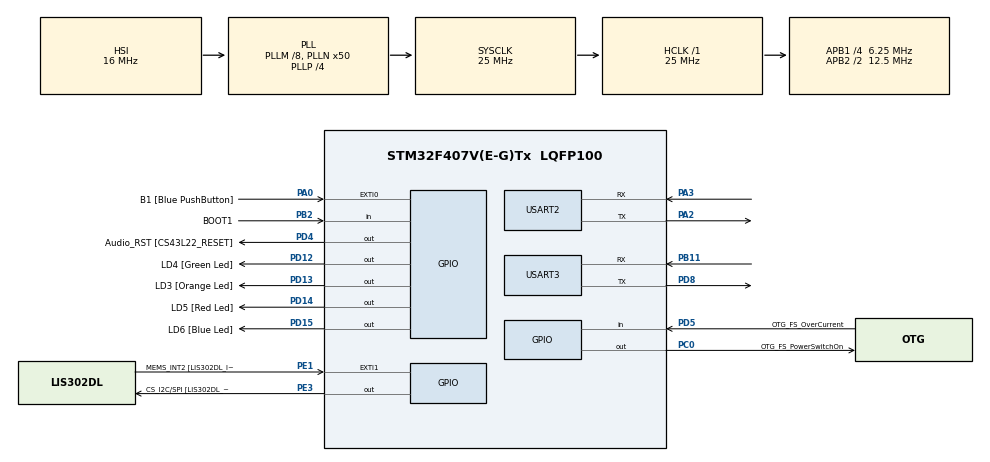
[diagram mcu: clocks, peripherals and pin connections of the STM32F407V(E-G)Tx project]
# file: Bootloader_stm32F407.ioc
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Mcu.Family=STM32F4
Mcu.Name=STM32F407V(E-G)Tx
Mcu.Package=LQFP100
NVIC.PriorityGroup=NVIC_PRIORITYGROUP_0
PA0-WKUP.GPIO_Label=B1 [Blue PushButton]
PA0-WKUP.Signal=GPXTI0
PA10.GPIO_Label=OTG_FS_ID
PA10.GPIO_Mode=GPIO_MODE_AF_PP
PA10.GPIO_PuPd=GPIO_NOPULL
PA10.GPIO_Speed=GPIO_SPEED_FREQ_LOW
PA10.Signal=USB_OTG_FS_ID
PA11.GPIO_Label=OTG_FS_DM
PA11.GPIO_Mode=GPIO_MODE_AF_PP
PA11.GPIO_PuPd=GPIO_NOPULL
PA11.GPIO_Speed=GPIO_SPEED_FREQ_LOW
PA11.Signal=USB_OTG_FS_DM
PA12.GPIO_Label=OTG_FS_DP
PA12.GPIO_Mode=GPIO_MODE_AF_PP
PA12.GPIO_PuPd=GPIO_NOPULL
PA12.GPIO_Speed=GPIO_SPEED_FREQ_LOW
PA12.Signal=USB_OTG_FS_DP
PA13.GPIO_Label=SWDIO
PA13.Signal=SYS_JTMS-SWDIO
PA14.GPIO_Label=SWCLK
PA14.Signal=SYS_JTCK-SWCLK
PA2.Mode=Asynchronous
PA2.Signal=USART2_TX
PA3.Mode=Asynchronous
PA3.Signal=USART2_RX
PA4.GPIO_Label=I2S3_WS [CS43L22_LRCK]
PA4.GPIO_Mode=GPIO_MODE_AF_PP
PA4.GPIO_PuPd=GPIO_NOPULL
PA4.GPIO_Speed=GPIO_SPEED_FREQ_LOW
PA4.Signal=I2S3_WS
PA5.GPIO_Label=SPI1_SCK [LIS302DL_SCL/SPC]
PA5.GPIO_Mode=GPIO_MODE_AF_PP
PA5.GPIO_PuPd=GPIO_NOPULL
PA5.GPIO_Speed=GPIO_SPEED_FREQ_LOW
PA5.Signal=SPI1_SCK
PA6.GPIO_Label=SPI1_MISO [LIS302DL_SDO]
PA6.GPIO_Mode=GPIO_MODE_AF_PP
PA6.GPIO_PuPd=GPIO_NOPULL
PA6.GPIO_Speed=GPIO_SPEED_FREQ_LOW
PA6.Signal=SPI1_MISO
PA7.GPIO_Label=SPI1_MOSI [LIS302DL_SDA/SDI/SDO]
PA7.GPIO_Mode=GPIO_MODE_AF_PP
PA7.GPIO_PuPd=GPIO_NOPULL
PA7.GPIO_Speed=GPIO_SPEED_FREQ_LOW
PA7.Signal=SPI1_MOSI
PA9.GPIO_Label=VBUS_FS
PA9.GPIO_Mode=GPIO_MODE_INPUT
PA9.GPIO_PuPd=GPIO_NOPULL
PA9.Signal=USB_OTG_FS_VBUS
PB10.GPIO_Label=CLK_IN [MP45DT02_CLK]
PB10.GPIO_Mode=GPIO_MODE_AF_PP
PB10.GPIO_PuPd=GPIO_NOPULL
PB10.GPIO_Speed=GPIO_SPEED_FREQ_LOW
PB10.Signal=I2S2_CK
PB11.Mode=Asynchronous
PB11.Signal=USART3_RX
PB2.GPIO_Label=BOOT1
PB2.GPIO_Mode=GPIO_MODE_INPUT
PB2.GPIO_PuPd=GPIO_NOPULL
PB2.Signal=GPIO_Input
PB3.GPIO_Label=SWO
PB3.Signal=SYS_JTDO-SWO
PB6.GPIO_Label=Audio_SCL [CS43L22_SCL]
PB6.GPIO_Mode=GPIO_MODE_AF_OD
PB6.GPIO_PuPd=GPIO_NOPULL
PB6.GPIO_Speed=GPIO_SPEED_FREQ_LOW
PB6.Signal=I2C1_SCL
PB9.GPIO_Label=Audio_SDA [CS43L22_SDA]
PB9.GPIO_Mode=GPIO_MODE_AF_OD
PB9.GPIO_PuPd=GPIO_NOPULL
PB9.GPIO_Speed=GPIO_SPEED_FREQ_LOW
PB9.Signal=I2C1_SDA
PC0.GPIO_Label=OTG_FS_PowerSwitchOn
PC0.GPIO_PuPd=GPIO_NOPULL
PC0.GPIO_Speed=GPIO_SPEED_FREQ_LOW
PC0.PinState=GPIO_PIN_SET
PC0.Signal=GPIO_Output
PC10.GPIO_Label=I2S3_SCK [CS43L22_SCLK]
PC10.GPIO_Mode=GPIO_MODE_AF_PP
PC10.GPIO_PuPd=GPIO_NOPULL
PC10.GPIO_Speed=GPIO_SPEED_FREQ_LOW
PC10.Signal=I2S3_CK
PC12.GPIO_Label=I2S3_SD [CS43L22_SDIN]
PC12.GPIO_Mode=GPIO_MODE_AF_PP
PC12.GPIO_PuPd=GPIO_NOPULL
PC12.GPIO_Speed=GPIO_SPEED_FREQ_LOW
PC12.Signal=I2S3_SD
PC14-OSC32_IN.GPIO_Label=PC14-OSC32_IN
PC14-OSC32_IN.Signal=RCC_OSC32_IN
PC15-OSC32_OUT.GPIO_Label=PC15-OSC32_OUT
PC15-OSC32_OUT.Signal=RCC_OSC32_OUT
PC3.GPIO_Label=PDM_OUT [MP45DT02_DOUT]
PC3.GPIO_Mode=GPIO_MODE_AF_PP
PC3.GPIO_PuPd=GPIO_NOPULL
PC3.GPIO_Speed=GPIO_SPEED_FREQ_LOW
PC3.Signal=I2S2_SD
PC7.GPIO_Label=I2S3_MCK [CS43L22_MCLK]
PC7.GPIO_Mode=GPIO_MODE_AF_PP
PC7.GPIO_PuPd=GPIO_NOPULL
PC7.GPIO_Speed=GPIO_SPEED_FREQ_LOW
PC7.Signal=I2S3_MCK
PD12.GPIO_Label=LD4 [Green Led]
PD12.GPIO_PuPd=GPIO_NOPULL
PD12.GPIO_Speed=GPIO_SPEED_FREQ_LOW
PD12.Signal=GPIO_Output
PD13.GPIO_Label=LD3 [Orange Led]
PD13.GPIO_PuPd=GPIO_NOPULL
PD13.GPIO_Speed=GPIO_SPEED_FREQ_LOW
PD13.Signal=GPIO_Output
PD14.GPIO_Label=LD5 [Red Led]
PD14.GPIO_PuPd=GPIO_NOPULL
PD14.GPIO_Speed=GPIO_SPEED_FREQ_LOW
PD14.Signal=GPIO_Output
PD15.GPIO_Label=LD6 [Blue Led]
PD15.GPIO_PuPd=GPIO_NOPULL
PD15.GPIO_Speed=GPIO_SPEED_FREQ_LOW
PD15.Signal=GPIO_Output
PD4.GPIO_Label=Audio_RST [CS43L22_RESET]
PD4.GPIO_PuPd=GPIO_NOPULL
PD4.GPIO_Speed=GPIO_SPEED_FREQ_LOW
PD4.Signal=GPIO_Output
PD5.GPIO_Label=OTG_FS_OverCurrent
PD5.GPIO_Mode=GPIO_MODE_INPUT
PD5.GPIO_PuPd=GPIO_NOPULL
PD5.Signal=GPIO_Input
PD8.Mode=Asynchronous
PD8.Signal=USART3_TX
PE1.GPIO_Label=MEMS_INT2 [LIS302DL_INT2]
PE1.GPIO_ModeDefaultEXTI=GPIO_MODE_EVT_RISING
PE1.GPIO_PuPd=GPIO_NOPULL
PE1.Signal=GPXTI1
PE3.GPIO_Label=CS_I2C/SPI [LIS302DL_CS_I2C/SPI]
PE3.GPIO_PuPd=GPIO_NOPULL
PE3.GPIO_Speed=GPIO_SPEED_FREQ_LOW
PE3.Signal=GPIO_Output
PH0-OSC_IN.GPIO_Label=PH0-OSC_IN
PH0-OSC_IN.Signal=RCC_OSC_IN
PH1-OSC_OUT.GPIO_Label=PH1-OSC_OUT
PH1-OSC_OUT.Signal=RCC_OSC_OUT
ProjectManager.HeapSize=0x200
ProjectManager.StackSize=0x400
ProjectManager.TargetToolchain=MDK-ARM V5.32
RCC.48MHZClocksFreq_Value=14285714.285714285
RCC.AHBFreq_Value=25000000
RCC.APB1CLKDivider=RCC_HCLK_DIV4
RCC.APB1Freq_Value=6250000
RCC.APB1TimFreq_Value=12500000
RCC.APB2CLKDivider=RCC_HCLK_DIV2
RCC.APB2Freq_Value=12500000
RCC.APB2TimFreq_Value=25000000
RCC.CortexFreq_Value=25000000
RCC.HCLKFreq_Value=25000000
RCC.HSE_VALUE=8000000
RCC.HSI_VALUE=16000000
RCC.LSE_VALUE=32768
RCC.PLLM=8
RCC.PLLN=50
RCC.PLLP=RCC_PLLP_DIV4
RCC.PLLQ=7
RCC.SYSCLKFreq_VALUE=25000000
RCC.SYSCLKSource=RCC_SYSCLKSOURCE_PLLCLK
RCC.VCOOutputFreq_Value=100000000
USART2.VirtualMode=VM_ASYNC
USART3.VirtualMode=VM_ASYNC
VP_CRC_VS_CRC.Mode=CRC_Activate
board=STM32F407G-DISC1

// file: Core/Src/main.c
/* USER CODE BEGIN Header */
/**
  ******************************************************************************
  * @file           : main.c
  * @brief          : Main program body
  ******************************************************************************
  * @attention
  *
  * Copyright (c) 2024 STMicroelectronics.
  * All rights reserved.
  *
  * This software is licensed under terms that can be found in the LICENSE file
  * in the root directory of this software component.
  * If no LICENSE file comes with this software, it is provided AS-IS.
  *
  ******************************************************************************
  */
/* USER CODE END Header */
#include "main.h"

/* USER CODE BEGIN Includes */
#include<stdio.h>
#include<stdarg.h>
#include<string.h>

/* USER CODE END Includes */

/* USER CODE BEGIN PM */
//enable this macro for debug messages over UART3
#define DEBUG_MSG_EN
#define DEBUG_UART &huart3  //Debug UART
#define VCOM_UART  &huart2  //Virtual COM UART

/* USER CODE END PM */

CRC_HandleTypeDef hcrc;

UART_HandleTypeDef huart2;
UART_HandleTypeDef huart3;

uint8_t supported_commands[] = {
                               BL_GET_VER ,
                               BL_GET_HELP,
                               BL_GET_CID,
                               BL_GET_RDP_STATUS,
                               BL_GO_TO_ADDR,
                               BL_FLASH_ERASE,
                               BL_MEM_WRITE,
                               BL_READ_SECTOR_P_STATUS};

void SystemClock_Config(void);
static void MX_GPIO_Init(void);
static void MX_USART2_UART_Init(void);
static void MX_USART3_UART_Init(void);
static void MX_CRC_Init(void);

/* USER CODE BEGIN PFP */
static void print_msg(char *format,...);

/* USER CODE END PFP */

/* USER CODE BEGIN 0 */
#define BL_RX_LEN  200
uint8_t bl_rx_buffer[BL_RX_LEN];

/* USER CODE END 0 */

int main(void)
{

  /* MCU Configuration--------------------------------------------------------*/

  /* Reset of all peripherals, Initializes the Flash interface and the Systick. */
  HAL_Init();

  /* Configure the system clock */
  SystemClock_Config();

  /* Initialize all configured peripherals */
  MX_GPIO_Init();
  MX_USART2_UART_Init();
  MX_USART3_UART_Init();
  MX_CRC_Init();

  /* USER CODE BEGIN 2 */

	/* If button is pressed -> go to bootloader, if not pressed -> go to user application */
  if (HAL_GPIO_ReadPin(B1_GPIO_Port,B1_Pin) == GPIO_PIN_RESET)
  {
	  print_msg("[Debug]: User Button is pressed -> Going into Bootloader....\n\r");

	  //continue in bootloader mode
	  bootloader_uart_read_data();
  }
  else
  {
	  print_msg("[Debug]: User Button is not pressed -> Entering User Application....\n\r");

		//Jump to User Application
		bootloader_jump_to_user_app();
  }

  /* USER CODE END 2 */

  /* Infinite loop */
  while (1)
  {

    /* USER CODE BEGIN 3 */

		uint32_t cur_tick = HAL_GetTick();
		print_msg("Current Tick Value = %d\r\n", cur_tick);
		while(HAL_GetTick()<= (cur_tick+500)); //delay using systick
  }
  /* USER CODE END 3 */
}

void SystemClock_Config(void)
{
  RCC_OscInitTypeDef RCC_OscInitStruct = {0};
  RCC_ClkInitTypeDef RCC_ClkInitStruct = {0};

  /** Configure the main internal regulator output voltage
  */
  __HAL_RCC_PWR_CLK_ENABLE();
  __HAL_PWR_VOLTAGESCALING_CONFIG(PWR_REGULATOR_VOLTAGE_SCALE1);

  /** Initializes the RCC Oscillators according to the specified parameters
  * in the RCC_OscInitTypeDef structure.
  */
  RCC_OscInitStruct.OscillatorType = RCC_OSCILLATORTYPE_HSI;
  RCC_OscInitStruct.HSIState = RCC_HSI_ON;
  RCC_OscInitStruct.HSICalibrationValue = RCC_HSICALIBRATION_DEFAULT;
  RCC_OscInitStruct.PLL.PLLState = RCC_PLL_ON;
  RCC_OscInitStruct.PLL.PLLSource = RCC_PLLSOURCE_HSI;
  RCC_OscInitStruct.PLL.PLLM = 8;
  RCC_OscInitStruct.PLL.PLLN = 50;
  RCC_OscInitStruct.PLL.PLLP = RCC_PLLP_DIV4;
  RCC_OscInitStruct.PLL.PLLQ = 7;
  if (HAL_RCC_OscConfig(&RCC_OscInitStruct) != HAL_OK)
  {
    Error_Handler();
  }

  /** Initializes the CPU, AHB and APB buses clocks
  */
  RCC_ClkInitStruct.ClockType = RCC_CLOCKTYPE_HCLK|RCC_CLOCKTYPE_SYSCLK
                              |RCC_CLOCKTYPE_PCLK1|RCC_CLOCKTYPE_PCLK2;
  RCC_ClkInitStruct.SYSCLKSource = RCC_SYSCLKSOURCE_PLLCLK;
  RCC_ClkInitStruct.AHBCLKDivider = RCC_SYSCLK_DIV1;
  RCC_ClkInitStruct.APB1CLKDivider = RCC_HCLK_DIV4;
  RCC_ClkInitStruct.APB2CLKDivider = RCC_HCLK_DIV2;

  if (HAL_RCC_ClockConfig(&RCC_ClkInitStruct, FLASH_LATENCY_0) != HAL_OK)
  {
    Error_Handler();
  }
}

static void MX_CRC_Init(void)
{

  hcrc.Instance = CRC;
  if (HAL_CRC_Init(&hcrc) != HAL_OK)
  {
    Error_Handler();
  }

}

static void MX_USART2_UART_Init(void)
{

  huart2.Instance = USART2;
  huart2.Init.BaudRate = 115200;
  huart2.Init.WordLength = UART_WORDLENGTH_8B;
  huart2.Init.StopBits = UART_STOPBITS_1;
  huart2.Init.Parity = UART_PARITY_NONE;
  huart2.Init.Mode = UART_MODE_TX_RX;
  huart2.Init.HwFlowCtl = UART_HWCONTROL_NONE;
  huart2.Init.OverSampling = UART_OVERSAMPLING_16;
  if (HAL_UART_Init(&huart2) != HAL_OK)
  {
    Error_Handler();
  }

}

static void MX_USART3_UART_Init(void)
{

  huart3.Instance = USART3;
  huart3.Init.BaudRate = 115200;
  huart3.Init.WordLength = UART_WORDLENGTH_8B;
  huart3.Init.StopBits = UART_STOPBITS_1;
  huart3.Init.Parity = UART_PARITY_NONE;
  huart3.Init.Mode = UART_MODE_TX_RX;
  huart3.Init.HwFlowCtl = UART_HWCONTROL_NONE;
  huart3.Init.OverSampling = UART_OVERSAMPLING_16;
  if (HAL_UART_Init(&huart3) != HAL_OK)
  {
    Error_Handler();
  }

}

static void MX_GPIO_Init(void)
{
  GPIO_InitTypeDef GPIO_InitStruct = {0};

  /* GPIO Ports Clock Enable */
  __HAL_RCC_GPIOE_CLK_ENABLE();
  __HAL_RCC_GPIOC_CLK_ENABLE();
  __HAL_RCC_GPIOH_CLK_ENABLE();
  __HAL_RCC_GPIOA_CLK_ENABLE();
  __HAL_RCC_GPIOB_CLK_ENABLE();
  __HAL_RCC_GPIOD_CLK_ENABLE();

  /*Configure GPIO pin Output Level */
  HAL_GPIO_WritePin(GPIOD, LD4_Pin|LD3_Pin|LD5_Pin|LD6_Pin, GPIO_PIN_RESET);

  /*Configure GPIO pin : B1_Pin */
  GPIO_InitStruct.Pin = B1_Pin;
  GPIO_InitStruct.Mode = GPIO_MODE_IT_RISING;
  GPIO_InitStruct.Pull = GPIO_NOPULL;
  HAL_GPIO_Init(B1_GPIO_Port, &GPIO_InitStruct);

  /*Configure GPIO pins : LD4_Pin LD3_Pin LD5_Pin LD6_Pin*/
  GPIO_InitStruct.Pin = LD4_Pin|LD3_Pin|LD5_Pin|LD6_Pin;
  GPIO_InitStruct.Mode = GPIO_MODE_OUTPUT_PP;
  GPIO_InitStruct.Pull = GPIO_NOPULL;
  GPIO_InitStruct.Speed = GPIO_SPEED_FREQ_LOW;
  HAL_GPIO_Init(GPIOD, &GPIO_InitStruct);
}

void Error_Handler(void)
{
  __disable_irq();
  while (1)
  {
  }
}

/* Custom Function Definitions Start */

//1. custom print function to print debug messages over UART3
static void print_msg(char *format,...)
 {
#ifdef DEBUG_MSG_EN
	char msg[100];

	/*Extract the the argument list using VA apis */
	va_list args;
	va_start(args, format);
	vsprintf(msg, format,args);
	HAL_UART_Transmit(DEBUG_UART,(uint8_t *)msg, strlen(msg),HAL_MAX_DELAY);
	va_end(args);
#endif
 }

//2. Bootloader Command Handler
//Read and decode commands from Host
 void  bootloader_uart_read_data(void)
{
  uint8_t rcv_len=0;

	while(1)
	{
		memset(bl_rx_buffer,0,200);
		//read first byte from Host - Length of the packet
    HAL_UART_Receive(VCOM_UART,bl_rx_buffer,1,HAL_MAX_DELAY);
		rcv_len= bl_rx_buffer[0];

    //read second byte of the packet - Command Code
		HAL_UART_Receive(VCOM_UART,&bl_rx_buffer[1],rcv_len,HAL_MAX_DELAY);

		switch(bl_rx_buffer[1])
		{
			case BL_GET_VER:
				bootloader_handle_getver_cmd(bl_rx_buffer);
				break;

			case BL_GET_HELP:
        bootloader_handle_gethelp_cmd(bl_rx_buffer);
        break;

      default:
        print_msg("[Debug]: Invalid command code received from host \n");
        break;
		}
	}
}

//3. Bootloader read data
void bootloader_uart_write_data(uint8_t *pBuffer,uint32_t len)
{
    /*you can replace the below ST's USART driver API call with your MCUs driver API call */
	HAL_UART_Transmit(VCOM_UART,pBuffer,len,HAL_MAX_DELAY);

}

//4. Jump to User Application
void bootloader_jump_to_user_app(void)
{
	//function pointer to hold reset handler of User Application
  void (*app_reset_handler)(void);

	print_msg("[Debug]: bootloader_jump_to_user_app\n");

	//1. Configure MSP by reading value from the base address of Flash sector 2
  uint32_t msp_value = *(volatile uint32_t *)FLASH_SECTOR2_BASE_ADDRESS;
  print_msg("[Debug]: MSP value: %#x\n",msp_value);

	//2. set MSP via CMSIS function
  __set_MSP(msp_value);

	//3. Fetch reset handler address from the 2nd address of Flash Sector 2
	uint32_t resethandler_address = *(volatile uint32_t *) (FLASH_SECTOR2_BASE_ADDRESS+4);

	//4. assign reset handler address to function pointer we defined
	app_reset_handler = (void*) resethandler_address;
	print_msg("[Debug]: User App Reset Handler Address: %#x\n",app_reset_handler);

	//5. call the user application reset handler
	app_reset_handler();
}

//Helper functions start
//1. Verify CRC
uint8_t bootloader_verify_crc(uint8_t *pData, uint32_t len, uint32_t crc_host)
{
    uint32_t uwCRCValue=0xff;

		//accumulate each CRC byte
    for(uint32_t i=0; i<len; i++)
		{
        uint32_t i_data = pData[i];
        uwCRCValue = HAL_CRC_Accumulate(&hcrc, &i_data, 1);
		}

	 //Reset CRC Calculation Unit (HAL function)
  __HAL_CRC_DR_RESET(&hcrc);

	//check if the hist CRc and the CRC of the data received are same or not
	if(uwCRCValue == crc_host)
		return VERIFY_CRC_SUCCESS;

	return VERIFY_CRC_FAIL;
}

//2. Sending ACK
void bootloader_send_ack(uint8_t command_code, uint8_t follow_len)
{
	//sending 2 bytes -> ACK + length to follow
	uint8_t ack_buf[2];
	ack_buf[0] = BL_ACK;
	ack_buf[1] = follow_len;
	HAL_UART_Transmit(VCOM_UART,ack_buf,2,HAL_MAX_DELAY);
}

//3. Sending NACK
void bootloader_send_nack(void)
{
	uint8_t nack = BL_NACK;
	HAL_UART_Transmit(VCOM_UART,&nack,1,HAL_MAX_DELAY);
}

//4. bootloader version
uint8_t get_bootloader_version(void)
{
  return (uint8_t)BL_VERSION;
}

//5. get MCU Chip ID
uint16_t get_mcu_chip_id(void)
{
	uint16_t cid;
	cid = (uint16_t)(DBGMCU->IDCODE) & 0x0FFF;
	return  cid;
}

//6. get flash RDP status
uint8_t get_flash_rdp_level(void)
{

	uint8_t rdp_status=0;
  #if 0
	  FLASH_OBProgramInitTypeDef  ob_handle;
	  HAL_FLASHEx_OBGetConfig(&ob_handle);
	  rdp_status = (uint8_t)ob_handle.RDPLevel;
  #else
	 volatile uint32_t *pOB_addr = (uint32_t*) 0x1FFFC000;
	 rdp_status =  (uint8_t)(*pOB_addr >> 8);
  #endif

	return rdp_status;
}

uint8_t execute_flash_erase(uint8_t sector_number , uint8_t number_of_sector)
{
  //8 sectors in stm32f407 -> sector[0 to 7]
	//sector_number = 0xFF -> Mass Erase!

	FLASH_EraseInitTypeDef flashErase_handle;
	uint32_t sectorError;
	HAL_StatusTypeDef status;

	if(number_of_sector > 8)
		return INVALID_SECTOR;

	if((sector_number == 0xFF) || (sector_number <= 7))
	{
		if(sector_number == (uint8_t) 0xFF)
		{
			flashErase_handle.TypeErase = FLASH_TYPEERASE_MASSERASE;  //setting up erase type in HAL Flash Handle
		}
    else
		{
			uint8_t remaining_sector = 8 - sector_number;
      if(number_of_sector > remaining_sector)
        number_of_sector = remaining_sector;

			flashErase_handle.TypeErase = FLASH_TYPEERASE_SECTORS;
			flashErase_handle.Sector = sector_number; //initial sector
			flashErase_handle.NbSectors = number_of_sector;
		}

		flashErase_handle.Banks = FLASH_BANK_1;

		HAL_FLASH_Unlock();
		flashErase_handle.VoltageRange = FLASH_VOLTAGE_RANGE_3;  //Flash Voltage Range for stm32f407
		status = (uint8_t) HAL_FLASHEx_Erase(&flashErase_handle, &sectorError);
		HAL_FLASH_Lock();

		return status;
	}
	return INVALID_SECTOR;
}

//8. verify address
uint8_t verify_address(uint32_t go_address)
{
	//we allow jumping to system, sram1, srma2, backup sram, external memory but not peripheral emmory

	if(go_address >= SRAM1_BASE && go_address <= SRAM1_END)
	{
		return ADDR_VALID;
	}
	else if(go_address >= SRAM2_BASE && go_address <= SRAM2_END)
	{
		return ADDR_VALID;
	}
	else if(go_address >= FLASH_BASE && go_address <= FLASH_END)
	{
		return ADDR_VALID;
	}
	else if(go_address >= BKPSRAM_BASE && go_address <= BKPSRAM_END)
	{
		return ADDR_VALID;
	}
	else
		return ADDR_INVALID;
}

//9. Configure Flash R/W protection
/*
Modifying user option bytes sequence:
1. Check for no ongoing Flash Memory Operation using the BSY bit in FLASH_SR register
2. Write the desired option value in FLASH_OPTCR register.
3. Set the option start bit (OPTSTRT) in FLASH_OPTCR register
4. Wait for the BSY bit to be cleared.
*/
uint8_t configure_flash_sector_rw_protection(uint8_t sector_details, uint8_t protection_mode, uint8_t disable)
{
  //configure the protection mode
  //protection_mode = 1 -> write protect of  user flash sectors
  //protection_mode = 2 -> read/write protect of  user flash sectors
  //For stm32f407xx, We have to modify the address 0x1FFF C008 bit 15(SPRMOD)

	 //Flash option control register (OPTCR)
  volatile uint32_t *pOPTCR = (uint32_t*) 0x40023C14;

	if(disable)
	{
		//disable r/w protection on all sectors

		//Option byte configuration unlock
		HAL_FLASH_OB_Unlock();

		//wait till no active operation on flash
		while(__HAL_FLASH_GET_FLAG(FLASH_FLAG_BSY) != RESET);

		//clear the 31st bit (default state)
		*pOPTCR &= ~(1 << 31);
		//clear the protection: make all bits belonging to sectors as 1
		*pOPTCR |= (0xFF << 16);
		//Set the option start bit (OPTSTRT) in the FLASH_OPTCR register
		*pOPTCR |= ( 1 << 1);

		//wait till no active operation on flash
		while(__HAL_FLASH_GET_FLAG(FLASH_FLAG_BSY) != RESET);

		HAL_FLASH_OB_Lock();
		return 0;
	}

	if(protection_mode == (uint8_t) 1)
  {
    //write protection on the sectors encoded in sector_details argument

		//Option byte configuration unlock
		HAL_FLASH_OB_Unlock();

		//wait till no active operation on flash
		while(__HAL_FLASH_GET_FLAG(FLASH_FLAG_BSY) != RESET);

		//here we are setting just write protection for the sectors
		//clear the 31st bit
		*pOPTCR &= ~(1 << 31);
		//put write protection on sectors
		*pOPTCR &= ~ (sector_details << 16);
		//Set the option start bit (OPTSTRT) in the FLASH_OPTCR register
		*pOPTCR |= ( 1 << 1);

		//wait till no active operation on flash
		while(__HAL_FLASH_GET_FLAG(FLASH_FLAG_BSY) != RESET);

		HAL_FLASH_OB_Lock();
	}
	else if (protection_mode == (uint8_t) 2)
  {
	  //Option byte configuration unlock
		HAL_FLASH_OB_Unlock();

		//wait till no active operation on flash
		while(__HAL_FLASH_GET_FLAG(FLASH_FLAG_BSY) != RESET);

		//here wer are setting read and write protection for the sectors
		//set the 31st bit
		//please refer : Flash option control register (FLASH_OPTCR) in RM
		*pOPTCR |= (1 << 31);

		//put read and write protection on sectors
    *pOPTCR &= ~(0xff << 16);
		*pOPTCR |= (sector_details << 16);

		//Set the option start bit (OPTSTRT) in the FLASH_OPTCR register
		*pOPTCR |= ( 1 << 1);

		//wait till no active operation on flash
		while(__HAL_FLASH_GET_FLAG(FLASH_FLAG_BSY) != RESET);

		HAL_FLASH_OB_Lock();
  }
  return 0;
}

//10. get R/W protection status of Flash Sectors
uint16_t read_OB_rw_protection_status(void)
{
  //HAl Structure type
	FLASH_OBProgramInitTypeDef OBInit;

	//1. Unlock the OB(Option Byte) memory access
	HAL_FLASH_OB_Unlock();
	//2. Get the OB configuration details
	HAL_FLASHEx_OBGetConfig(&OBInit);
	//3. Lock Back
	HAL_FLASH_Lock();

	//return the R/W protection status of the sectors.
	return (uint16_t)OBInit.WRPSector;
}

//11. execute memory write
uint8_t execute_mem_write(uint8_t *pBuffer, uint32_t mem_address, uint32_t len)
{
    uint8_t status=HAL_OK;

    //unlock flash
    HAL_FLASH_Unlock();

    for(uint32_t i = 0 ; i <len ; i++)
    {
      //write to flash memory byte by byte
      status = HAL_FLASH_Program(FLASH_TYPEPROGRAM_BYTE,mem_address+i,pBuffer[i] );
    }

    //lock flash
    HAL_FLASH_Lock();
    return status;
}
//Helper functions end

//Bootloader Command functions start

//1. Get Bootloader Version
	void bootloader_handle_getver_cmd(uint8_t *bl_rx_buffer)
{
    uint8_t bl_version;

      print_msg("[Debug]: bootloader_handle_getver_cmd\n");

	  //getting total length of the packet -> length to follow + 1
	  uint32_t command_packet_len = bl_rx_buffer[0]+1 ;

	  //Extract CRC32 sent by the Host Application
	  uint32_t host_crc = *((uint32_t*) (bl_rx_buffer + command_packet_len - 4));

		//CRC is successfull
    if (!bootloader_verify_crc(&bl_rx_buffer[0],command_packet_len-4,host_crc))
    {
        print_msg("[Debug]: Checksum Success!!\n");
        //Sending ACk as checksum is correct
        bootloader_send_ack(bl_rx_buffer[0],1);

				//get bootloader version
        bl_version=get_bootloader_version();

        print_msg("[Debug]: BL_VER -> %d %#x\n",bl_version,bl_version);

				//send the bootloader version number to Host Application
        bootloader_uart_write_data(&bl_version,1);
    }
		else //CRC is a failure
    {
        print_msg("[Debug]: Checksum Fail...\n");

        //Sending NACK as checksum is wrong
        bootloader_send_nack();
    }
}

//2. Get Help
void bootloader_handle_gethelp_cmd(uint8_t *pBuffer)
{
    print_msg("[Debug]: bootloader_handle_gethelp_cmd\n");

	//Total length of the command packet
	uint32_t command_packet_len = bl_rx_buffer[0]+1 ;

	//extract the CRC32 sent by the Host
	uint32_t host_crc = *((uint32_t*) (bl_rx_buffer+command_packet_len - 4));

	if (! bootloader_verify_crc(&bl_rx_buffer[0],command_packet_len-4,host_crc))
	{
        print_msg("[Debug]: Checksum Success!!\n");
        bootloader_send_ack(pBuffer[0],sizeof(supported_commands));
        bootloader_uart_write_data(supported_commands,sizeof(supported_commands) );

	}else
	{
        print_msg("[Debug]: Checksum Fail..\n");
        bootloader_send_nack();
	}
}

//3. Get CID
void bootloader_handle_getcid_cmd(uint8_t *pBuffer)
{
	uint16_t bl_cid_num = 0;
	print_msg("[Debug]: bootloader_handle_getcid_cmd\n");

  //getting total length of the packet -> length to follow + 1
	uint32_t command_packet_len = bl_rx_buffer[0]+1;

	//Extract CRC32 sent by the Host Application
	uint32_t host_crc = *((uint32_t*) (bl_rx_buffer+command_packet_len - 4));

	if(!bootloader_verify_crc(&bl_rx_buffer[0],command_packet_len-4,host_crc))
	{
    print_msg("[Debug]: Checksum Success!!\n");
    //Sending ACK as checksum is correct
    bootloader_send_ack(pBuffer[0],2);

    //get MCU Chip ID
    bl_cid_num = get_mcu_chip_id();

    print_msg("[Debug]: MCU ID : %d %#x !!\n",bl_cid_num, bl_cid_num);

    //send the cid number to the Host Application
    bootloader_uart_write_data((uint8_t *)&bl_cid_num,2);
	}
  else //CRC is a failure
	{
    print_msg("[Debug]: Checksum Fail..\n");

    //Sending NACK as checksum is wrong
    bootloader_send_nack();
	}
}

//4. Get RDP Status
void bootloader_handle_getrdp_cmd(uint8_t *pBuffer)
{
    uint8_t rdp_level = 0x00;
    print_msg("[Debug]: bootloader_handle_getrdp_cmd\n");

  //getting total length of the packet -> length to follow + 1
	uint32_t command_packet_len = bl_rx_buffer[0]+1;

	//Extract CRC32 sent by the Host Application
	uint32_t host_crc = *((uint32_t*)(bl_rx_buffer+command_packet_len - 4));

	if(!bootloader_verify_crc(&bl_rx_buffer[0],command_packet_len-4,host_crc))
	{
    print_msg("[Debug]: Checksum Success!!\n");
    //Sending ACK as checksum is correct
    bootloader_send_ack(pBuffer[0],1);

    //get flash RDP level
    rdp_level = get_flash_rdp_level();

    print_msg("[Debug]: RDP level -> %d %#x\n",rdp_level,rdp_level);

    //send the flash rdp status to the Host Application
    bootloader_uart_write_data(&rdp_level,1);
	}
  else //CRC is a failure
	{
    print_msg("[Debug]: Checksum Fail!..\n");

    //Sending NACK as checksum is wrong
    bootloader_send_nack();
	}
}

//5. Go to Address Command
void bootloader_handle_go_cmd(uint8_t *pBuffer)
{
    uint32_t go_address=0;
    uint8_t addr_valid = ADDR_VALID;
    uint8_t addr_invalid = ADDR_INVALID;

    print_msg("[Debug]: bootloader_handle_go_cmd\n");

  //getting total length of the packet -> length to follow + 1
	uint32_t command_packet_len = bl_rx_buffer[0]+1;

	//Extract CRC32 sent by the Host Application
	uint32_t host_crc = *((uint32_t*) (bl_rx_buffer+command_packet_len - 4));

	if(!bootloader_verify_crc(&bl_rx_buffer[0],command_packet_len-4,host_crc))
	{
    print_msg("[Debug]:Checksum Success!!\n");
    bootloader_send_ack(pBuffer[0],1);

    //Extract the Go Address
    go_address = *((uint32_t *)&pBuffer[2]);
    print_msg("[Debug]: Go Address -> %#x\n",go_address);

    if(verify_address(go_address) == ADDR_VALID)
    {
      //tell host that address is fine
      bootloader_uart_write_data(&addr_valid,1);

      /* Not doing the below line will result in hardfault exception for ARM cortex M */
      go_address+=1; //make T bit=1

      void (*jump)(void) = (void *)go_address;
      print_msg("[Debug]: Jumping to Go Address..\n");

      //Jumping to the Go Address
      jump();
		}
    else
		{
      print_msg("[Debug]: Go Address is Invalid..\n");
      //inform Host that Go Address is invalid
      bootloader_uart_write_data(&addr_invalid,1);
		}
	}
  else //CRC is a failure
	{
    print_msg("[Debug]: Checksum Fail..\n");
    bootloader_send_nack();
	}
}
//Bootloader Command function end
/* Custom Function Definitions End */
